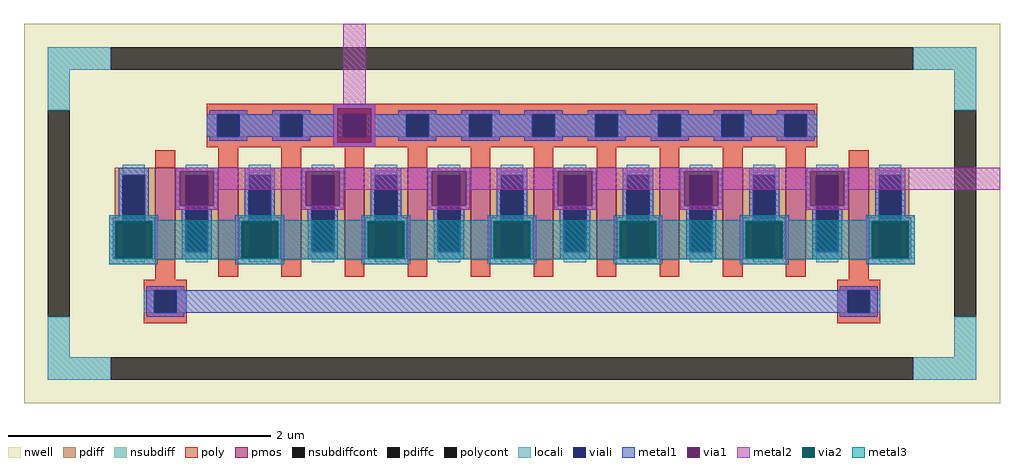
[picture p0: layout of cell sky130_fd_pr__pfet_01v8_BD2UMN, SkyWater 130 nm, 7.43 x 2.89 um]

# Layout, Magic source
magic
tech sky130A
magscale 1 2
<< nwell >>
rect -743 -289 743 289
<< pmos >>
rect -543 -70 -513 70
rect -447 -70 -417 70
rect -351 -70 -321 70
rect -255 -70 -225 70
rect -159 -70 -129 70
rect -63 -70 -33 70
rect 33 -70 63 70
rect 129 -70 159 70
rect 225 -70 255 70
rect 321 -70 351 70
rect 417 -70 447 70
rect 513 -70 543 70
<< pdiff >>
rect -605 58 -543 70
rect -605 -58 -593 58
rect -559 -58 -543 58
rect -605 -70 -543 -58
rect -513 58 -447 70
rect -513 -58 -497 58
rect -463 -58 -447 58
rect -513 -70 -447 -58
rect -417 58 -351 70
rect -417 -58 -401 58
rect -367 -58 -351 58
rect -417 -70 -351 -58
rect -321 58 -255 70
rect -321 -58 -305 58
rect -271 -58 -255 58
rect -321 -70 -255 -58
rect -225 58 -159 70
rect -225 -58 -209 58
rect -175 -58 -159 58
rect -225 -70 -159 -58
rect -129 58 -63 70
rect -129 -58 -113 58
rect -79 -58 -63 58
rect -129 -70 -63 -58
rect -33 58 33 70
rect -33 -58 -17 58
rect 17 -58 33 58
rect -33 -70 33 -58
rect 63 58 129 70
rect 63 -58 79 58
rect 113 -58 129 58
rect 63 -70 129 -58
rect 159 58 225 70
rect 159 -58 175 58
rect 209 -58 225 58
rect 159 -70 225 -58
rect 255 58 321 70
rect 255 -58 271 58
rect 305 -58 321 58
rect 255 -70 321 -58
rect 351 58 417 70
rect 351 -58 367 58
rect 401 -58 417 58
rect 351 -70 417 -58
rect 447 58 513 70
rect 447 -58 463 58
rect 497 -58 513 58
rect 447 -70 513 -58
rect 543 58 605 70
rect 543 -58 559 58
rect 593 -58 605 58
rect 543 -70 605 -58
<< pdiffc >>
rect -593 -58 -559 58
rect -497 -58 -463 58
rect -401 -58 -367 58
rect -305 -58 -271 58
rect -209 -58 -175 58
rect -113 -58 -79 58
rect -17 -58 17 58
rect 79 -58 113 58
rect 175 -58 209 58
rect 271 -58 305 58
rect 367 -58 401 58
rect 463 -58 497 58
rect 559 -58 593 58
<< nsubdiff >>
rect -707 219 -611 253
rect 611 219 707 253
rect -707 157 -673 219
rect 673 157 707 219
rect -707 -219 -673 -157
rect 673 -219 707 -157
rect -707 -253 -611 -219
rect 611 -253 707 -219
<< nsubdiffcont >>
rect -611 219 611 253
rect -707 -157 -673 157
rect 673 -157 707 157
rect -611 -253 611 -219
<< poly >>
rect -465 151 465 167
rect -465 117 -449 151
rect -415 117 -353 151
rect -319 117 -257 151
rect -223 117 -161 151
rect -127 117 -65 151
rect -31 117 31 151
rect 65 117 127 151
rect 161 117 223 151
rect 257 117 319 151
rect 353 117 415 151
rect 449 117 465 151
rect -465 101 465 117
rect -543 70 -513 96
rect -447 70 -417 101
rect -351 70 -321 101
rect -255 70 -225 101
rect -159 70 -129 101
rect -63 70 -33 101
rect 33 70 63 101
rect 129 70 159 101
rect 225 70 255 101
rect 321 70 351 101
rect 417 70 447 101
rect 513 70 543 96
rect -543 -101 -513 -70
rect -447 -96 -417 -70
rect -351 -96 -321 -70
rect -255 -96 -225 -70
rect -159 -96 -129 -70
rect -63 -96 -33 -70
rect 33 -96 63 -70
rect 129 -96 159 -70
rect 225 -96 255 -70
rect 321 -96 351 -70
rect 417 -96 447 -70
rect 513 -101 543 -70
rect -561 -117 -495 -101
rect -561 -151 -545 -117
rect -511 -151 -495 -117
rect -561 -167 -495 -151
rect 495 -117 561 -101
rect 495 -151 511 -117
rect 545 -151 561 -117
rect 495 -167 561 -151
<< polycont >>
rect -449 117 -415 151
rect -353 117 -319 151
rect -257 117 -223 151
rect -161 117 -127 151
rect -65 117 -31 151
rect 31 117 65 151
rect 127 117 161 151
rect 223 117 257 151
rect 319 117 353 151
rect 415 117 449 151
rect -545 -151 -511 -117
rect 511 -151 545 -117
<< locali >>
rect -707 219 -611 253
rect 611 219 707 253
rect -707 157 -673 219
rect 673 157 707 219
rect -465 117 -449 151
rect -415 117 -353 151
rect -319 117 -257 151
rect -223 117 -161 151
rect -127 117 -65 151
rect -31 117 31 151
rect 65 117 127 151
rect 161 117 223 151
rect 257 117 319 151
rect 353 117 415 151
rect 449 117 465 151
rect -593 58 -559 74
rect -593 -74 -559 -58
rect -497 58 -463 74
rect -497 -74 -463 -58
rect -401 58 -367 74
rect -401 -74 -367 -58
rect -305 58 -271 74
rect -305 -74 -271 -58
rect -209 58 -175 74
rect -209 -74 -175 -58
rect -113 58 -79 74
rect -113 -74 -79 -58
rect -17 58 17 74
rect -17 -74 17 -58
rect 79 58 113 74
rect 79 -74 113 -58
rect 175 58 209 74
rect 175 -74 209 -58
rect 271 58 305 74
rect 271 -74 305 -58
rect 367 58 401 74
rect 367 -74 401 -58
rect 463 58 497 74
rect 463 -74 497 -58
rect 559 58 593 74
rect 559 -74 593 -58
rect -561 -151 -545 -117
rect -511 -151 -495 -117
rect 495 -151 511 -117
rect 545 -151 561 -117
rect -707 -219 -673 -157
rect 673 -219 707 -157
rect -707 -253 -611 -219
rect 611 -253 707 -219
<< viali >>
rect -449 117 -415 151
rect -353 117 -319 151
rect -257 117 -223 151
rect -161 117 -127 151
rect -65 117 -31 151
rect 31 117 65 151
rect 127 117 161 151
rect 223 117 257 151
rect 319 117 353 151
rect 415 117 449 151
rect -593 -58 -559 58
rect -497 -58 -463 58
rect -401 -58 -367 58
rect -305 -58 -271 58
rect -209 -58 -175 58
rect -113 -58 -79 58
rect -17 -58 17 58
rect 79 -58 113 58
rect 175 -58 209 58
rect 271 -58 305 58
rect 367 -58 401 58
rect 463 -58 497 58
rect 559 -58 593 58
rect -545 -151 -511 -117
rect 511 -151 545 -117
<< metal1 >>
rect -272 160 -208 166
rect -461 151 -403 157
rect -365 151 -307 157
rect -272 151 -266 160
rect -214 151 -208 160
rect -173 151 -115 157
rect -77 151 -19 157
rect 19 151 77 157
rect 115 151 173 157
rect 211 151 269 157
rect 307 151 365 157
rect 403 151 461 157
rect -465 117 -449 151
rect -415 117 -353 151
rect -319 117 -266 151
rect -214 117 -161 151
rect -127 117 -65 151
rect -31 117 31 151
rect 65 117 127 151
rect 161 117 223 151
rect 257 117 319 151
rect 353 117 415 151
rect 449 117 465 151
rect -461 111 -403 117
rect -365 111 -307 117
rect -272 108 -266 117
rect -214 108 -208 117
rect -173 111 -115 117
rect -77 111 -19 117
rect 19 111 77 117
rect 115 111 173 117
rect 211 111 269 117
rect 307 111 365 117
rect 403 111 461 117
rect -272 102 -208 108
rect -599 58 -553 70
rect -599 -6 -593 58
rect -608 -14 -593 -6
rect -559 -6 -553 58
rect -512 64 -448 70
rect -512 12 -506 64
rect -454 12 -448 64
rect -512 6 -497 12
rect -559 -14 -544 -6
rect -608 -66 -602 -14
rect -550 -66 -544 -14
rect -608 -70 -544 -66
rect -503 -58 -497 6
rect -463 6 -448 12
rect -407 58 -361 70
rect -463 -58 -457 6
rect -407 -6 -401 58
rect -503 -70 -457 -58
rect -416 -14 -401 -6
rect -367 -6 -361 58
rect -320 64 -256 70
rect -320 12 -314 64
rect -262 12 -256 64
rect -320 6 -305 12
rect -367 -14 -352 -6
rect -416 -66 -410 -14
rect -358 -66 -352 -14
rect -416 -70 -352 -66
rect -311 -58 -305 6
rect -271 6 -256 12
rect -215 58 -169 70
rect -271 -58 -265 6
rect -215 -6 -209 58
rect -311 -70 -265 -58
rect -224 -14 -209 -6
rect -175 -6 -169 58
rect -128 64 -64 70
rect -128 12 -122 64
rect -70 12 -64 64
rect -128 6 -113 12
rect -175 -14 -160 -6
rect -224 -66 -218 -14
rect -166 -66 -160 -14
rect -224 -70 -160 -66
rect -119 -58 -113 6
rect -79 6 -64 12
rect -23 58 23 70
rect -79 -58 -73 6
rect -23 -6 -17 58
rect -119 -70 -73 -58
rect -32 -14 -17 -6
rect 17 -6 23 58
rect 64 64 128 70
rect 64 12 70 64
rect 122 12 128 64
rect 64 6 79 12
rect 17 -14 32 -6
rect -32 -66 -26 -14
rect 26 -66 32 -14
rect -32 -70 32 -66
rect 73 -58 79 6
rect 113 6 128 12
rect 169 58 215 70
rect 113 -58 119 6
rect 169 -6 175 58
rect 73 -70 119 -58
rect 160 -14 175 -6
rect 209 -6 215 58
rect 256 64 320 70
rect 256 12 262 64
rect 314 12 320 64
rect 256 6 271 12
rect 209 -14 224 -6
rect 160 -66 166 -14
rect 218 -66 224 -14
rect 160 -70 224 -66
rect 265 -58 271 6
rect 305 6 320 12
rect 361 58 407 70
rect 305 -58 311 6
rect 361 -6 367 58
rect 265 -70 311 -58
rect 352 -14 367 -6
rect 401 -6 407 58
rect 448 64 512 70
rect 448 12 454 64
rect 506 12 512 64
rect 448 6 463 12
rect 401 -14 416 -6
rect 352 -66 358 -14
rect 410 -66 416 -14
rect 352 -70 416 -66
rect 457 -58 463 6
rect 497 6 512 12
rect 553 58 599 70
rect 497 -58 503 6
rect 553 -6 559 58
rect 457 -70 503 -58
rect 544 -14 559 -6
rect 593 -6 599 58
rect 593 -14 608 -6
rect 544 -66 550 -14
rect 602 -66 608 -14
rect 544 -70 608 -66
rect -557 -117 -499 -111
rect 499 -117 557 -111
rect -557 -151 -545 -117
rect -511 -151 511 -117
rect 545 -151 557 -117
rect -557 -157 -499 -151
rect 499 -157 557 -151
<< via1 >>
rect -266 151 -214 160
rect -266 117 -257 151
rect -257 117 -223 151
rect -223 117 -214 151
rect -266 108 -214 117
rect -506 58 -454 64
rect -506 12 -497 58
rect -497 12 -463 58
rect -463 12 -454 58
rect -602 -58 -593 -14
rect -593 -58 -559 -14
rect -559 -58 -550 -14
rect -602 -66 -550 -58
rect -314 58 -262 64
rect -314 12 -305 58
rect -305 12 -271 58
rect -271 12 -262 58
rect -410 -58 -401 -14
rect -401 -58 -367 -14
rect -367 -58 -358 -14
rect -410 -66 -358 -58
rect -122 58 -70 64
rect -122 12 -113 58
rect -113 12 -79 58
rect -79 12 -70 58
rect -218 -58 -209 -14
rect -209 -58 -175 -14
rect -175 -58 -166 -14
rect -218 -66 -166 -58
rect 70 58 122 64
rect 70 12 79 58
rect 79 12 113 58
rect 113 12 122 58
rect -26 -58 -17 -14
rect -17 -58 17 -14
rect 17 -58 26 -14
rect -26 -66 26 -58
rect 262 58 314 64
rect 262 12 271 58
rect 271 12 305 58
rect 305 12 314 58
rect 166 -58 175 -14
rect 175 -58 209 -14
rect 209 -58 218 -14
rect 166 -66 218 -58
rect 454 58 506 64
rect 454 12 463 58
rect 463 12 497 58
rect 497 12 506 58
rect 358 -58 367 -14
rect 367 -58 401 -14
rect 401 -58 410 -14
rect 358 -66 410 -58
rect 550 -58 559 -14
rect 559 -58 593 -14
rect 593 -58 602 -14
rect 550 -66 602 -58
<< metal2 >>
rect -257 166 -223 289
rect -272 160 -208 166
rect -272 108 -266 160
rect -214 108 -208 160
rect -272 102 -208 108
rect -512 64 743 70
rect -512 12 -506 64
rect -454 36 -314 64
rect -454 12 -448 36
rect -512 6 -448 12
rect -320 12 -314 36
rect -262 36 -122 64
rect -262 12 -256 36
rect -320 6 -256 12
rect -128 12 -122 36
rect -70 36 70 64
rect -70 12 -64 36
rect -128 6 -64 12
rect 64 12 70 36
rect 122 36 262 64
rect 122 12 128 36
rect 64 6 128 12
rect 256 12 262 36
rect 314 36 454 64
rect 314 12 320 36
rect 256 6 320 12
rect 448 12 454 36
rect 506 36 743 64
rect 506 12 512 36
rect 448 6 512 12
rect -613 -12 -539 -3
rect -613 -68 -604 -12
rect -548 -68 -539 -12
rect -613 -77 -539 -68
rect -421 -12 -347 -3
rect -421 -68 -412 -12
rect -356 -68 -347 -12
rect -421 -77 -347 -68
rect -229 -12 -155 -3
rect -229 -68 -220 -12
rect -164 -68 -155 -12
rect -229 -77 -155 -68
rect -37 -12 37 -3
rect -37 -68 -28 -12
rect 28 -68 37 -12
rect -37 -77 37 -68
rect 155 -12 229 -3
rect 155 -68 164 -12
rect 220 -68 229 -12
rect 155 -77 229 -68
rect 347 -12 421 -3
rect 347 -68 356 -12
rect 412 -68 421 -12
rect 347 -77 421 -68
rect 539 -12 613 -3
rect 539 -68 548 -12
rect 604 -68 613 -12
rect 539 -77 613 -68
<< via2 >>
rect -604 -14 -548 -12
rect -604 -66 -602 -14
rect -602 -66 -550 -14
rect -550 -66 -548 -14
rect -604 -68 -548 -66
rect -412 -14 -356 -12
rect -412 -66 -410 -14
rect -410 -66 -358 -14
rect -358 -66 -356 -14
rect -412 -68 -356 -66
rect -220 -14 -164 -12
rect -220 -66 -218 -14
rect -218 -66 -166 -14
rect -166 -66 -164 -14
rect -220 -68 -164 -66
rect -28 -14 28 -12
rect -28 -66 -26 -14
rect -26 -66 26 -14
rect 26 -66 28 -14
rect -28 -68 28 -66
rect 164 -14 220 -12
rect 164 -66 166 -14
rect 166 -66 218 -14
rect 218 -66 220 -14
rect 164 -68 220 -66
rect 356 -14 412 -12
rect 356 -66 358 -14
rect 358 -66 410 -14
rect 410 -66 412 -14
rect 356 -68 412 -66
rect 548 -14 604 -12
rect 548 -66 550 -14
rect 550 -66 602 -14
rect 602 -66 604 -14
rect 548 -68 604 -66
<< metal3 >>
rect -613 -10 -539 -3
rect -421 -10 -347 -3
rect -229 -10 -155 -3
rect -37 -10 37 -3
rect 155 -10 229 -3
rect 347 -10 421 -3
rect 539 -10 613 -3
rect -613 -12 613 -10
rect -613 -68 -604 -12
rect -548 -68 -412 -12
rect -356 -68 -220 -12
rect -164 -68 -28 -12
rect 28 -68 164 -12
rect 220 -68 356 -12
rect 412 -68 548 -12
rect 604 -68 613 -12
rect -613 -70 613 -68
rect -613 -77 -539 -70
rect -421 -77 -347 -70
rect -229 -77 -155 -70
rect -37 -77 37 -70
rect 155 -77 229 -70
rect 347 -77 421 -70
rect 539 -77 613 -70
<< properties >>
string FIXED_BBOX -690 -236 690 236
string gencell sky130_fd_pr__pfet_01v8
string library sky130
string parameters w 0.7 l 0.15 m 1 nf 12 diffcov 100 polycov 100 guard 1 glc 1 grc 1 gtc 1 gbc 1 tbcov 100 rlcov 100 topc 1 botc 1 poverlap 0 doverlap 1 lmin 0.15 wmin 0.42 compatible {sky130_fd_pr__pfet_01v8  sky130_fd_pr__pfet_01v8_lvt sky130_fd_pr__pfet_01v8_hvt  sky130_fd_pr__pfet_g5v0d10v5} full_metal 1 viasrc 100 viadrn 100 viagate 100 viagb 0 viagr 0 viagl 0 viagt 0
<< end >>
